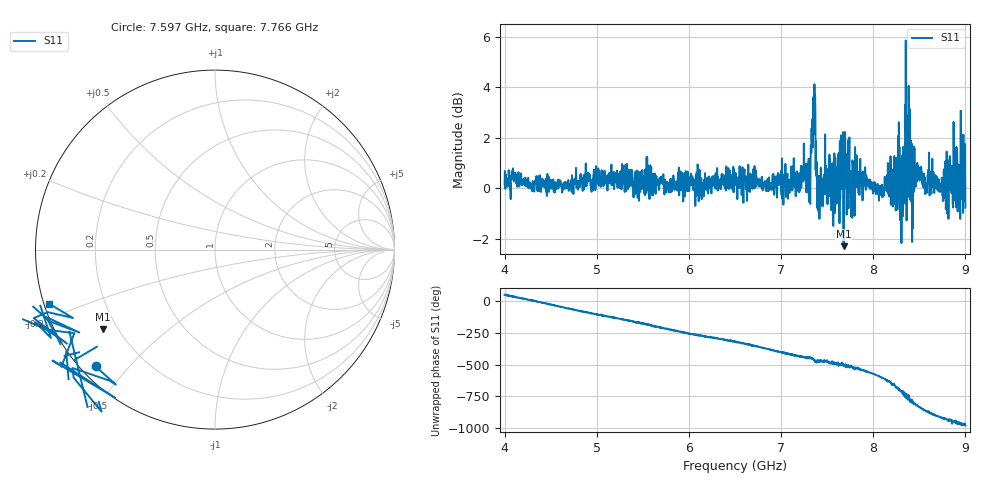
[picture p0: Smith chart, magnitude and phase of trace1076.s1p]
! Created with skrf 1.8.0 (http://scikit-rf.org).
# Hz S RI R 50.0
!freq ReS11 ImS11
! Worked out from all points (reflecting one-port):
!   1601 points, 4 GHz to 9 GHz, reference 50 ohm
!   lowest |S11| = -2.3 dB at 7.678 GHz (marker M1), VSWR 7.60, Z = 7.24 - j15.6 ohm
!   phase of S11 starts at 51 deg and turns -1031 deg over the sweep
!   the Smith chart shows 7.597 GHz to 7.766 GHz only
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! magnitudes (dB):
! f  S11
! 4 GHz  0.2
! 4.625 GHz  -0.2
! 5.25 GHz  0.0
! 5.875 GHz  0.2
! 6.5 GHz  0.3
! 7.125 GHz  0.0
! 7.294 GHz  -0.2
! 7.347 GHz  2.5
! 7.372 GHz  3.2
! 7.4 GHz  -0.4
! 7.425 GHz  0.1
! 7.5 GHz  0.6
! 7.578 GHz  1.4
! 7.678 GHz  -2.3
! 7.75 GHz  0.7
! 7.775 GHz  1.1
! 7.828 GHz  0.3
! 8.075 GHz  0.1
! 8.222 GHz  -0.6
! 8.259 GHz  0.8
! 8.316 GHz  1.3
! 8.334 GHz  0.4
! 8.375 GHz  1.4
! 8.441 GHz  1.7
! 8.466 GHz  0.5
! 8.734 GHz  -0.1
! 8.972 GHz  0.8
! 9 GHz  -0.8
